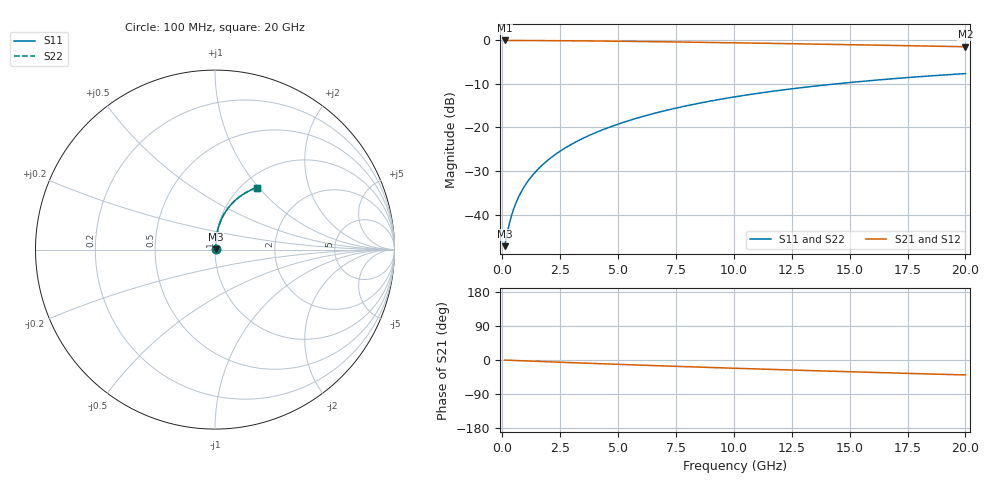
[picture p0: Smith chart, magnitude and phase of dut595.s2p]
! Touchstone file exported from HFSS 2024.1.0
!  File:  C:/UserFiles/LocalFiles/RDL_TSV_Batchsim/temp_RDL_top_595_1779682623.aedt
!  Generated:  12:19:31 PM May 25, 2026
!  Design:  RDL_top
!  Project:  temp_RDL_top_595_1779682623
!  Setup:  Setup1
!  Solution:  Sweep
! Variables:
!  dtsv = 10.80580581um
!  hbump = 3um
!  htsv = 56.88um
!  ldown = 100um
!  lrdl = 494.71um
!  p = 40
!  p1 = 58.92um
!  rhole = 1um
!  t = 450um
!  tdown = 3.915915916um
!  trdl = 2.47um
!  wdown = 15.38538539um
!  wrdl = 20.5um
# GHz S MA R 50.000000
! Terminal data exported
! Port[1] = Box2_T1
! Port[2] = Box2_T2
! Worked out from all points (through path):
!   200 points, 100 MHz to 20 GHz, reference 50 ohm
!   highest |S21| = -0.03 dB at 100 MHz (marker M1); lowest = -1.5 dB at 20 GHz (marker M2)
!   group delay of S21, straight-line fit = 5.44 ps
!   lowest |S11| = -47.2 dB at 100 MHz (marker M3), VSWR 1.01, Z = 50.4 + j0.229 ohm
!   |S11| at or under -10 dB: start of sweep to 14.4 GHz
!   |S22| runs from -47.2 to -7.6 dB; largest |S21 - S12| = 2.1e-15
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0.1  0.004348 31.5  0.9963 -0.2  0.9963 -0.2  0.004348 31.5
! Gamma 0 0 0 0
! Port Impedance 50 0 50 0
0.2  0.005903 50.0  0.9962 -0.5  0.9962 -0.5  0.005903 50.0
0.3  0.007788 59.8  0.996 -0.7  0.996 -0.7  0.007788 59.8
0.4  0.00978 65.5  0.9958 -1.0  0.9958 -1.0  0.00978 65.5
0.5  0.0118 69.1  0.9956 -1.2  0.9956 -1.2  0.0118 69.1
0.6  0.01383 71.7  0.9954 -1.5  0.9954 -1.5  0.01383 71.7
0.8  0.01791 75.2  0.995 -1.9  0.995 -1.9  0.01791 75.2
1.1  0.02405 78.2  0.9944 -2.6  0.9944 -2.6  0.02405 78.2
1.3  0.02818 79.5  0.9939 -3.1  0.9939 -3.1  0.02818 79.5
1.6  0.03443 80.9  0.9931 -3.8  0.9931 -3.8  0.03443 80.9
2.1  0.04499 82.2  0.9915 -5.0  0.9915 -5.0  0.04499 82.2
2.7  0.05788 82.9  0.9891 -6.3  0.9891 -6.3  0.05788 82.9
3.5  0.07542 83.1  0.9852 -8.2  0.9852 -8.2  0.07543 83.1
4.2  0.09107 82.7  0.9812 -9.7  0.9812 -9.7  0.09108 82.8
5  0.1092 82.0  0.9761 -11.5  0.9761 -11.5  0.1092 82.1
5.9  0.1299 81.0  0.9699 -13.4  0.9699 -13.4  0.1299 81.0
6.8  0.1507 79.6  0.9631 -15.3  0.9631 -15.3  0.1507 79.7
8.4  0.1875 77.0  0.9503 -18.6  0.9503 -18.6  0.1876 77.0
10.1  0.2259 73.9  0.9358 -22.0  0.9358 -22.0  0.226 73.9
13.4  0.2963 67.7  0.9061 -28.1  0.9061 -28.1  0.2964 67.7
16.7  0.3596 61.7  0.8753 -34.0  0.8753 -34.0  0.3598 61.7
20  0.4153 56.1  0.8443 -39.4  0.8443 -39.4  0.4155 56.1
